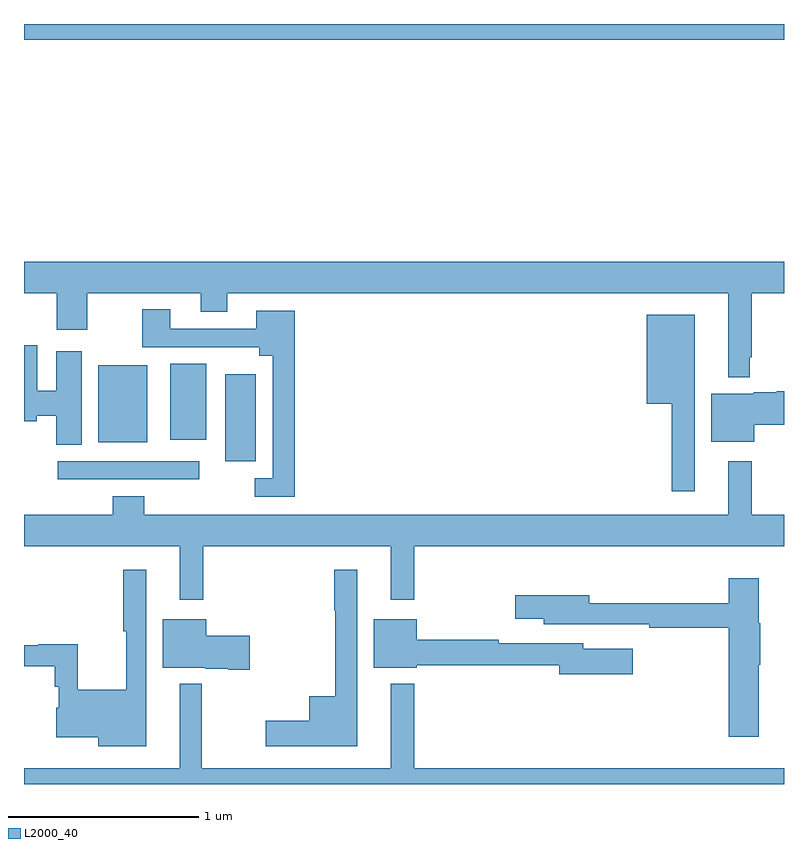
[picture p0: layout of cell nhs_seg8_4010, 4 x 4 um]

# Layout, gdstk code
import gdstk
lib = gdstk.Library(unit=1e-6, precision=1e-09)
def R(c, l, rs):  # rectangles x0, y0, x1, y1
    for r in rs: c.add(gdstk.rectangle(r[:2], r[2:], *l))
def P(c, l, *ps):  # polygons
    for p in ps: c.add(gdstk.Polygon(p, *l))
L2000_40 = (2000, 40)

nhs_seg8_4010 = lib.new_cell('nhs_seg8_4010')
R(nhs_seg8_4010, L2000_40, [(357.177,1131.504,357.922,1131.6), (358.058,1131.599,358.219,1132.057), (357.392,1131.698,357.649,1132.105), (357.77,1131.713,357.958,1132.111), (357,1133.816,361,1133.9)])
P(nhs_seg8_4010, L2000_40, [(360.821,1132.147),(360.829,1132.147),(360.829,1132.484),(361,1132.484),(361,1132.648),(357,1132.648),(357,1132.484),(357.173,1132.484),(357.173,1132.29),(357.333,1132.29),(357.333,1132.484),(357.929,1132.484),(357.929,1132.385),(358.069,1132.385),(358.069,1132.484),(360.707,1132.484),(360.707,1132.04),(360.821,1132.04)],
  [(358.424,1132.39),(358.223,1132.39),(358.223,1132.296),(357.769,1132.296),(357.769,1132.399),(357.622,1132.399),(357.622,1132.2),(358.238,1132.2),(358.238,1132.154),(358.308,1132.154),(358.308,1131.508),(358.215,1131.508),(358.215,1131.411),(358.424,1131.411)],
  [(360.529,1132.369),(360.278,1132.369),(360.278,1131.902),(360.408,1131.902),(360.408,1131.441),(360.529,1131.441)],
  [(357.304,1132.177),(357.17,1132.177),(357.17,1131.969),(357.07,1131.969),(357.07,1132.21),(357,1132.21),(357,1131.809),(357.066,1131.809),(357.066,1131.839),(357.17,1131.839),(357.17,1131.685),(357.304,1131.685)],
  [(360.844,1131.79),(361,1131.79),(361,1131.968),(360.962,1131.968),(360.962,1131.961),(360.84,1131.961),(360.84,1131.955),(360.617,1131.955),(360.617,1131.701),(360.844,1131.701)],
  [(357.943,1131.152),(358.931,1131.152),(358.931,1130.871),(359.053,1130.871),(359.053,1131.152),(361,1131.152),(361,1131.316),(360.829,1131.316),(360.829,1131.598),(360.707,1131.598),(360.707,1131.316),(357.632,1131.316),(357.632,1131.415),(357.467,1131.415),(357.467,1131.316),(357,1131.316),(357,1131.152),(357.821,1131.152),(357.821,1130.871),(357.943,1130.871)],
  [(357.643,1131.028),(357.522,1131.028),(357.522,1130.703),(357.537,1130.703),(357.537,1130.395),(357.284,1130.395),(357.284,1130.636),(357.076,1130.636),(357.076,1130.629),(357,1130.629),(357,1130.519),(357.163,1130.519),(357.163,1130.412),(357.182,1130.412),(357.182,1130.301),(357.17,1130.301),(357.17,1130.147),(357.392,1130.147),(357.392,1130.099),(357.643,1130.099)],
  [(358.753,1131.028),(358.632,1131.028),(358.632,1130.815),(358.639,1130.815),(358.639,1130.362),(358.502,1130.362),(358.502,1130.234),(358.272,1130.234),(358.272,1130.099),(358.753,1130.099)],
  [(360.868,1130.527),(360.876,1130.527),(360.876,1130.745),(360.868,1130.745),(360.868,1130.983),(360.71,1130.983),(360.71,1130.851),(359.974,1130.851),(359.974,1130.893),(359.586,1130.893),(359.586,1130.771),(359.735,1130.771),(359.735,1130.741),(360.292,1130.741),(360.292,1130.722),(360.71,1130.722),(360.71,1130.148),(360.868,1130.148)],
  [(360.205,1130.611),(359.944,1130.611),(359.944,1130.64),(359.498,1130.64),(359.498,1130.66),(359.068,1130.66),(359.068,1130.767),(358.841,1130.767),(358.841,1130.513),(359.068,1130.513),(359.068,1130.524),(359.816,1130.524),(359.816,1130.477),(360.205,1130.477)],
  [(358.189,1130.679),(357.958,1130.679),(357.958,1130.767),(357.731,1130.767),(357.731,1130.513),(357.954,1130.513),(357.954,1130.507),(358.076,1130.507),(358.076,1130.501),(358.189,1130.501)],
  [(361,1129.984),(359.053,1129.984),(359.053,1130.428),(358.931,1130.428),(358.931,1129.984),(357.935,1129.984),(357.935,1130.428),(357.821,1130.428),(357.821,1129.984),(357,1129.984),(357,1129.9),(361,1129.9)])

lib.write_gds('nhs_seg8_4010.gds')
